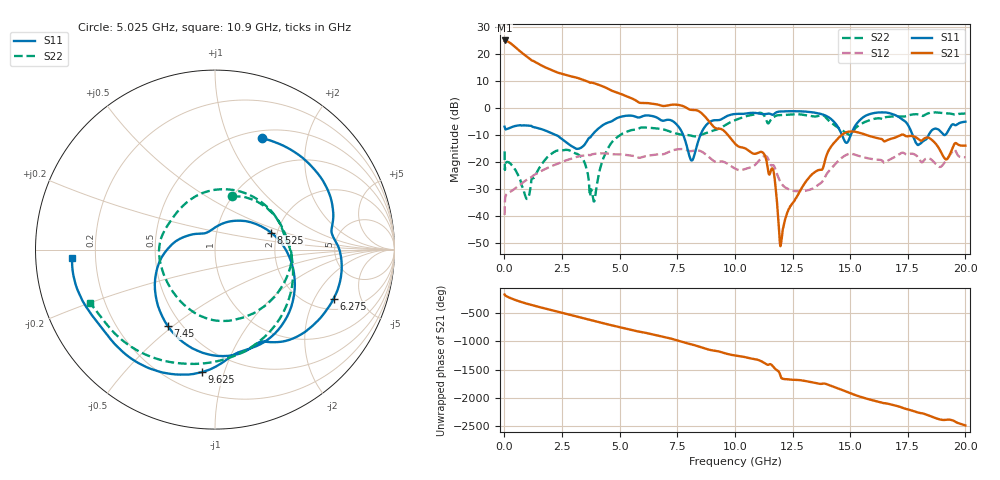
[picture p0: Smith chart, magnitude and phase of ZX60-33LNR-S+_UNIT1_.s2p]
!Mini-Circuits Laboratory
!S-Parameters
!Model: ZX60-33LNR-S+
!Run / Lot / Date Code: E181103 / N/A / N/A
!Fixture: N/A, Pressing Arm: N/A
!Network Analyzer: PNA-X N5242A - 423 4 ports;  Serial number: 74302
!Date: 11/9/2018 at 2:33:56 PM
!S/N: Unit# 1
!Volage and Current limited to 5V and 150mA
# Hz  S  dB  R  50
!Frequency  S11 dB  S11 Deg  S21 dB  S21 Deg  S12 dB  S12 Deg  S22 dB  S22 Deg
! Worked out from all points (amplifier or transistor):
!   879 points, 10 MHz to 20 GHz, reference 50 ohm
!   highest |S21| = 24.9 dB at 20 MHz (marker M1)
!   |S21| within 3 dB of that: start of sweep to 543.1 MHz
!   unconditionally stable (mu >= 1): start of sweep to end of sweep
!   at 1.7 GHz: K = 1.21, MAG = 16.4 dB, |S12| = -23.0 dB
!   at 9.025 GHz: K = 5.93, MAG = -4.3 dB, |S12| = -19.4 dB
!   at 20 GHz: K = 5.40, MAG = -8.1 dB, |S12| = -18.4 dB
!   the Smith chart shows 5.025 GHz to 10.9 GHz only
!   S11 on the Smith chart (normalised r, x): 5.025 GHz: 0.59, +1.33; 6.275 GHz: 2.58, -2.88; 7.45 GHz: 0.42, -0.48; 8.525 GHz: 1.86, +0.39; 9.625 GHz: 0.33, -0.84; 10.9 GHz: 0.11, -0.03
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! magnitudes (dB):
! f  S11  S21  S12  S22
! 10 MHz  -7.1  24.7  -39.7  -16.2
! 20 MHz  -7.5  24.9  -35.4  -22.6
! 975 MHz  -6.6  18.9  -26.7  -33.8
! 2.05 GHz  -9.4  13.9  -21.6  -17.0
! 3.35 GHz  -14.7  10.5  -17.8  -18.4
! 3.9 GHz  -9.2  9.0  -17.1  -34.7
! 5.025 GHz  -3.4  5.2  -17.3  -10.1
! 6.275 GHz  -2.9  1.6  -17.7  -7.4
! 6.675 GHz  -4.0  1.1  -17.3  -7.8
! 7.45 GHz  -6.0  1.1  -15.5  -9.6
! 8.125 GHz  -19.6  -0.9  -16.1  -10.4
! 8.525 GHz  -9.7  -1.8  -16.1  -10.1
! 9.625 GHz  -3.3  -9.4  -20.5  -6.3
! 10.03 GHz  -2.3  -13.5  -22.7  -4.6
! 10.9 GHz  -2.0  -17.1  -21.0  -2.4
! 11.65 GHz  -2.6  -22.7  -21.3  -3.7
! 12 GHz  -1.4  -50.4  -27.8  -2.8
! 13.35 GHz  -1.7  -24.6  -30.1  -3.2
! 14.85 GHz  -13.0  -9.1  -17.4  -9.5
! 16.68 GHz  -2.0  -11.8  -19.4  -3.4
! 17.95 GHz  -13.9  -11.6  -18.4  -2.5
! 20 GHz  -5.2  -14.1  -18.4  -2.2
